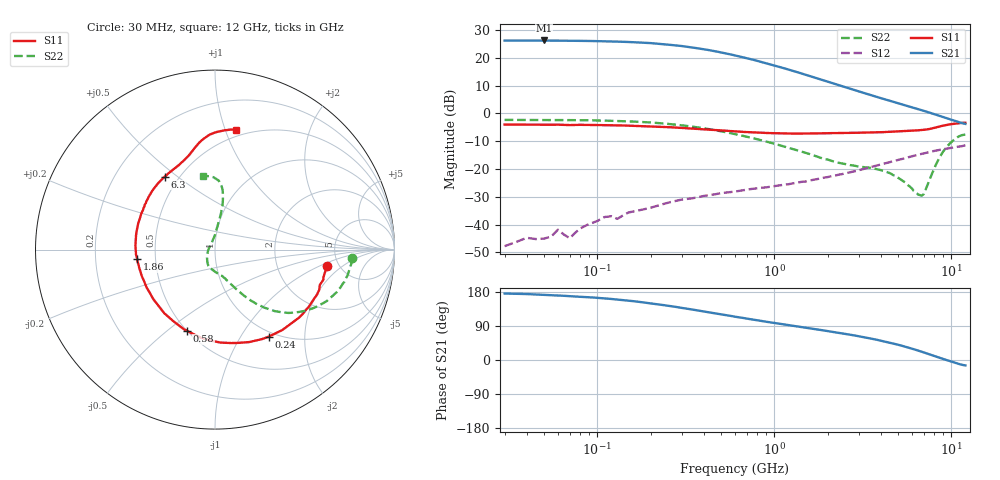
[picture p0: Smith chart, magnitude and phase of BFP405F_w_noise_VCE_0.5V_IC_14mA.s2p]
! Infineon Technologies  Discrete & RF Semiconductors
! BFP405F
! VCE =  0.5 V,  IC =  14 mA
! Common Emitter S-Parameters:  Nov 2015
# GHz  S  MA  R  50
!  f  S11  S21  S12  S22
! GHz  MAG  ANG  MAG  ANG  MAG  ANG  MAG  ANG
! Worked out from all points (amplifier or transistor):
!   239 points, 30 MHz to 12 GHz, reference 50 ohm
!   highest |S21| = 26.2 dB at 50 MHz (marker M1)
!   |S21| within 3 dB of that: start of sweep to 385.5 MHz
!   unconditionally stable (mu >= 1): start of sweep to 54.25 MHz; 68.07 MHz to 72.21 MHz; 871.3 MHz to end of sweep
!   at 300 MHz: K = 0.53, MSG = 27.6 dB, |S12| = -31.0 dB
!   at 1.88 GHz: K = 1.51, MAG = 13.4 dB, |S12| = -23.2 dB
!   at 12 GHz: K = 1.66, MAG = -0.9 dB, |S12| = -11.5 dB
!   lowest NFmin = 1.91 dB at 450 MHz
!   S11 on the Smith chart (normalised r, x): 30 MHz: 4.02, -1.20; 240 MHz: 0.93, -1.33; 580 MHz: 0.50, -0.59; 1.86 GHz: 0.39, -0.05; 6.3 GHz: 0.42, +0.45; 12 GHz: 0.44, +1.09
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0.03  0.6297 -8.2  20.33 175.4  0.0041 76.0  0.7631 -3.5
0.04  0.6269 -10.7  20.36 174.0  0.0058 94.7  0.7618 -4.7
0.05  0.6233 -14.6  20.47 171.9  0.0056 61.7  0.7634 -6.1
0.085  0.6217 -22.5  20.08 166.2  0.0094 85.5  0.7528 -10.8
0.145  0.6041 -37.7  19.3 157.5  0.0156 76.8  0.7224 -18.3
0.195  0.5851 -49.0  18.42 150.1  0.0197 69.7  0.6889 -24.1
0.24  0.5698 -58.4  17.44 144.5  0.0238 65.3  0.6564 -28.5
0.3  0.5494 -69.7  16.25 137.5  0.0282 61.2  0.61 -33.9
0.4  0.519 -86.5  14.22 128.0  0.0328 55.7  0.5403 -40.8
0.46  0.5039 -94.6  13.16 123.3  0.035 53.8  0.5009 -43.9
0.58  0.4787 -108.9  11.29 115.6  0.0388 50.5  0.434 -48.9
0.6  0.4764 -111.3  11.01 114.2  0.0393 50.2  0.4235 -49.7
0.9  0.4442 -135.4  7.975 100.9  0.0468 47.6  0.3117 -57.2
1.2  0.4356 -151.3  6.145 92.1  0.0532 47.3  0.2419 -62.5
1.64  0.4342 -166.9  4.553 82.6  0.0635 48.5  0.1792 -69.5
1.86  0.4369 -172.9  4.011 78.7  0.0687 49.2  0.1557 -74.0
2.7  0.447 170.3  2.758 66.4  0.0876 48.9  0.1169 -93.3
4.5  0.4668 145.1  1.68 45.7  0.1327 43.6  0.0841 -119.6
6.3  0.4939 124.5  1.229 26.8  0.1765 34.2  0.0376 -176.0
7  0.5063 115.7  1.11 19.8  0.1914 30.0  0.0357 125.9
9  0.6032 98.3  0.857 2.5  0.2275 18.0  0.2076 80.6
12  0.6766 80.0  0.647 -14.3  0.267 4.8  0.4167 99.6
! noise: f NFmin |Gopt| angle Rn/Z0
0.45  1.91  0.12  3  0.31
0.9  1.94  0.11  6  0.31
1.5  1.98  0.1  10  0.2
1.9  2.03  0.08  15  0.24
2.4  2.17  0.06  22  0.38
3  2.25  0.04  27  0.41
3.5  2.31  0.02  23  0.49
4.5  2.5  0.07  -88  0.15
5.5  2.76  0.15  -87  0.08
